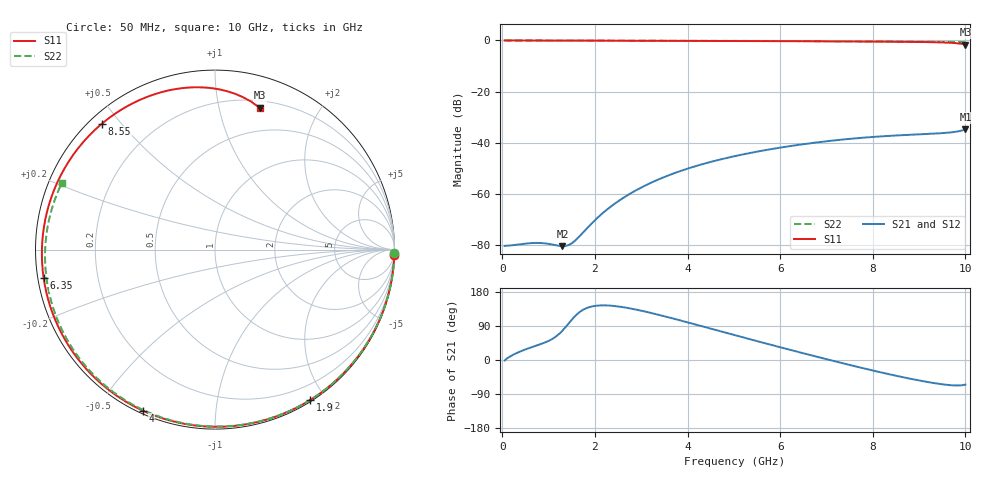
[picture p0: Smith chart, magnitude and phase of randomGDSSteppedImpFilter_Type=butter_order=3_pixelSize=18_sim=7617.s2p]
! freq	dB(S11)	phase(S11)	dB(S12)	phase(S12)
!  dB(S21)	phase(S21)	dB(S22)	phase(S22)
!S-par simulation data
#  GHz  S  DB  R 50
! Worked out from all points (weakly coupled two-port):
!   200 points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, 50 MHz to 10 GHz, reference 50 ohm
!   highest |S21| = -34.70 dB at 10 GHz (marker M1); lowest = -80.4 dB at 1.3 GHz (marker M2)
!   lowest |S11| = -1.6 dB at 10 GHz (marker M3), VSWR 10.69, Z = 13.2 + j66.5 ohm
!   |S11| at or under -10 dB: nowhere
!   |S22| runs from -0.6 to 0.0 dB; largest |S21 - S12| = 0
!   S11 on the Smith chart (normalised r, x): 50 MHz: 1, -72; 1.9 GHz: 0.02, -1.82; 4 GHz: 0.01, -0.65; 6.35 GHz: 0.02, -0.08; 8.55 GHz: 0.04, +0.45; 10 GHz: 0.26, +1.33
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0.05  -0.00 -1.6  -80.33 -1.6  -80.33 -1.6  -0.00 -1.2
0.65  -0.03 -20.2  -79.21 34.4  -79.21 34.4  -0.02 -15.1
1.3  -0.05 -40.0  -80.44 77.6  -80.44 77.6  -0.04 -29.8
1.5  -0.06 -46.0  -79.31 106.4  -79.31 106.4  -0.04 -34.3
1.75  -0.07 -53.3  -74.98 132.8  -74.98 132.8  -0.05 -39.9
1.9  -0.07 -57.7  -72.10 140.2  -72.10 140.2  -0.05 -43.2
2.2  -0.08 -66.2  -67.03 144.2  -67.03 144.2  -0.06 -49.8
2.55  -0.09 -76.0  -62.29 140.4  -62.29 140.4  -0.07 -57.3
2.95  -0.11 -86.8  -57.99 131.5  -57.99 131.5  -0.08 -65.8
3.4  -0.12 -98.7  -54.13 118.6  -54.13 118.6  -0.10 -75.1
4  -0.15 -113.9  -50.13 99.4  -50.13 99.4  -0.12 -87.3
5.05  -0.20 -139.6  -45.12 64.5  -45.12 64.5  -0.16 -107.7
5.7  -0.24 -155.0  -42.82 43.3  -42.82 43.3  -0.20 -120.0
6.35  -0.28 -170.6  -40.94 22.5  -40.94 22.5  -0.24 -132.1
6.7  -0.31 -179.1  -40.08 11.5  -40.08 11.5  -0.27 -138.6
7.55  -0.39 159.6  -38.40 -14.6  -38.40 -14.6  -0.34 -154.4
8.35  -0.48 137.8  -37.31 -37.5  -37.31 -37.5  -0.42 -169.6
8.55  -0.51 131.9  -37.11 -42.8  -37.11 -42.8  -0.44 -173.5
9.05  -0.60 116.2  -36.66 -55.1  -36.66 -55.1  -0.50 176.5
9.5  -0.77 99.6  -36.23 -64.1  -36.23 -64.1  -0.56 167.3
9.8  -1.06 85.5  -35.68 -67.2  -35.68 -67.2  -0.60 160.9
10  -1.63 72.6  -34.70 -64.9  -34.70 -64.9  -0.62 156.6
